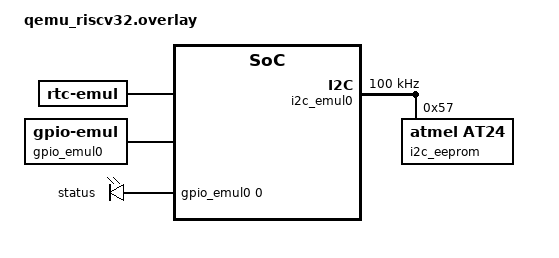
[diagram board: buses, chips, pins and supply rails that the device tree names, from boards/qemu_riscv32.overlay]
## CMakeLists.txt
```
cmake_minimum_required(VERSION 3.20.0)

list(APPEND ZEPHYR_EXTRA_MODULES ${CMAKE_CURRENT_SOURCE_DIR}/../..)

if(NOT BOARD)
  set(BOARD qemu_riscv32)
endif()

find_package(Zephyr REQUIRED HINTS $ENV{ZEPHYR_BASE})
project(zig_ffi_rust_with_c LANGUAGES C)

set(_rust_lib ${CMAKE_CURRENT_BINARY_DIR}/zig/lib/librust_ffi.a)
zig_sample_app(
  BUILD_FILE ${CMAKE_CURRENT_SOURCE_DIR}/build.zig
  EXTRA_OUTPUTS ${_rust_lib}
)
target_include_directories(app PRIVATE ${CMAKE_CURRENT_SOURCE_DIR}/include)
target_sources(app PRIVATE ${CMAKE_CURRENT_SOURCE_DIR}/src/c_sum16.c)
target_link_libraries(app PRIVATE ${_rust_lib})
```

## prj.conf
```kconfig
CONFIG_ZIG=y

CONFIG_EMUL=y

CONFIG_GPIO=y

CONFIG_I2C=y

CONFIG_EEPROM=y
CONFIG_EEPROM_AT24=y
CONFIG_EEPROM_AT2X_EMUL=y

CONFIG_RTC=y
```

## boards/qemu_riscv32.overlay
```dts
#include <zephyr/dt-bindings/gpio/gpio.h>
#include <zephyr/dt-bindings/i2c/i2c.h>

/ {
	aliases {
		status-led = &status_led;
		eeprom-0 = &i2c_eeprom;
		rtc = &rtc;
	};

	rtc: rtc {
		status = "okay";
		compatible = "zephyr,rtc-emul";
	};

	gpio_emul0: gpio_emul0 {
		status = "okay";
		compatible = "zephyr,gpio-emul";
		gpio-controller;
		rising-edge;
		falling-edge;
		high-level;
		low-level;
		#gpio-cells = <2>;
		ngpios = <8>;
	};

	i2c_emul0: i2c@100 {
		status = "okay";
		compatible = "zephyr,i2c-emul-controller";
		clock-frequency = <I2C_BITRATE_STANDARD>;
		#address-cells = <1>;
		#size-cells = <0>;
		reg = <0x100 4>;

		i2c_eeprom: eeprom@57 {
			compatible = "atmel,at24";
			reg = <0x57>;
			size = <256>;
			pagesize = <8>;
			address-width = <8>;
			timeout = <5>;
		};
	};

	leds {
		compatible = "gpio-leds";
		status_led: led_0 {
			gpios = <&gpio_emul0 0 GPIO_ACTIVE_HIGH>;
			label = "status";
		};
	};
};
```

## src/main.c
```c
#include <stdint.h>
#include <stddef.h>
#include <stdio.h>

#include "c_sum16.h"

#define SAMPLE_COUNT 16
#define CALIBRATION_OFFSET 100u

int main(void) {
	uint32_t samples[SAMPLE_COUNT];
	for (size_t index = 0; index < SAMPLE_COUNT; index++) {
		samples[index] = CALIBRATION_OFFSET + (uint32_t)index;
	}
	uint16_t sum = c_sum16(samples, SAMPLE_COUNT);
	printf("c: sum16=0x%04x\n", sum);
	return 0;
}
```

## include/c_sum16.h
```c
#ifndef C_SUM16_H
#define C_SUM16_H

#include <stddef.h>
#include <stdint.h>

uint16_t c_sum16(const uint32_t *samples, size_t len);

#endif
```

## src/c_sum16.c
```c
#include "c_sum16.h"

uint16_t c_sum16(const uint32_t *samples, size_t len) {
	uint16_t sum = 0;
	for (size_t index = 0; index < len; index++) {
		sum += (uint16_t)(samples[index] & 0xFFFFu);
		sum += (uint16_t)(samples[index] >> 16);
	}
	return sum;
}
```
